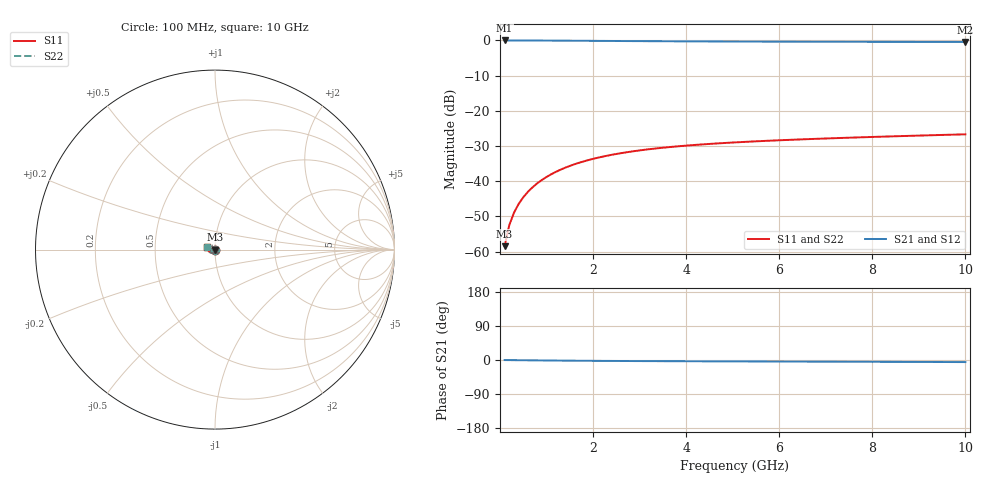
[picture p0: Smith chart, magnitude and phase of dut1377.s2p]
! Touchstone file exported from HFSS 2024.1.0
!  File:  C:/UserFiles/LocalFiles/RDL_TSV_Batchsim/temp_TSV1_1377_1780379814.aedt
!  Generated:  02:02:08 PM Jun  2, 2026
!  Design:  TSV1
!  Project:  temp_TSV1_1377_1780379814
!  Setup:  Setup1
!  Solution:  Sweep
! Variables:
!  dtsv = 9.84um
!  hbump = 3um
!  htsv = 83.97um
!  lrdl = 252.1521522um
!  p = 40
!  p1 = 57.35um
!  t = 500um
!  trdl = 3um
!  wrdl = 24.89489489um
# GHz S MA R 50.000000
! Terminal data exported
! Port[1] = TSV22_T1
! Port[2] = TSV22_T2
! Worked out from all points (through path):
!   100 points, 100 MHz to 10 GHz, reference 50 ohm
!   highest |S21| = 0.00 dB at 100 MHz (marker M1); lowest = -0.4 dB at 10 GHz (marker M2)
!   lowest |S11| = -58.4 dB at 100 MHz (marker M3), VSWR 1.00, Z = 50 - j0.119 ohm
!   |S11| at or under -10 dB: start of sweep to end of sweep
!   |S22| runs from -58.4 to -26.7 dB; largest |S21 - S12| = 5.2e-15
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0.1  0.001195 -84.7  0.9998 -0.1  0.9998 -0.1  0.001195 -84.7
! Gamma 0 0 0 0
! Port Impedance 50 0 50 0
0.2  0.002377 -90.3  0.9997 -0.3  0.9997 -0.3  0.002377 -90.3
0.3  0.00356 -93.5  0.9994 -0.4  0.9994 -0.4  0.00356 -93.5
0.4  0.004737 -96.1  0.9991 -0.5  0.9991 -0.5  0.004737 -96.1
0.5  0.005906 -98.5  0.9987 -0.7  0.9987 -0.7  0.005906 -98.5
0.6  0.007061 -100.8  0.9983 -0.8  0.9983 -0.8  0.007061 -100.8
0.7  0.0082 -103.0  0.9977 -0.9  0.9977 -0.9  0.0082 -103.0
0.8  0.00932 -105.2  0.9971 -1.0  0.9971 -1.0  0.00932 -105.2
0.9  0.01042 -107.3  0.9965 -1.1  0.9965 -1.1  0.01042 -107.3
1.1  0.01255 -111.3  0.995 -1.4  0.995 -1.4  0.01255 -111.3
1.4  0.01554 -117.1  0.9925 -1.7  0.9925 -1.7  0.01554 -117.1
1.6  0.0174 -120.7  0.9907 -1.9  0.9907 -1.9  0.0174 -120.7
1.8  0.01915 -124.2  0.9888 -2.0  0.9888 -2.0  0.01915 -124.2
2.1  0.02156 -129.2  0.986 -2.3  0.986 -2.3  0.02156 -129.2
2.5  0.02439 -135.4  0.9823 -2.6  0.9823 -2.6  0.02439 -135.4
2.9  0.02684 -141.0  0.9787 -2.8  0.9787 -2.8  0.02684 -141.0
3.4  0.02945 -147.4  0.9748 -3.0  0.9748 -3.0  0.02945 -147.4
4.2  0.03281 -156.3  0.9694 -3.4  0.9694 -3.4  0.03281 -156.3
5.1  0.03577 -164.8  0.9647 -3.7  0.9647 -3.7  0.03577 -164.8
6.7  0.03982 -177.2  0.9588 -4.3  0.9588 -4.3  0.03982 -177.2
8.4  0.04335 172.3  0.9548 -4.9  0.9548 -4.9  0.04335 172.3
10  0.0464 164.0  0.9523 -5.5  0.9523 -5.5  0.04641 164.0
